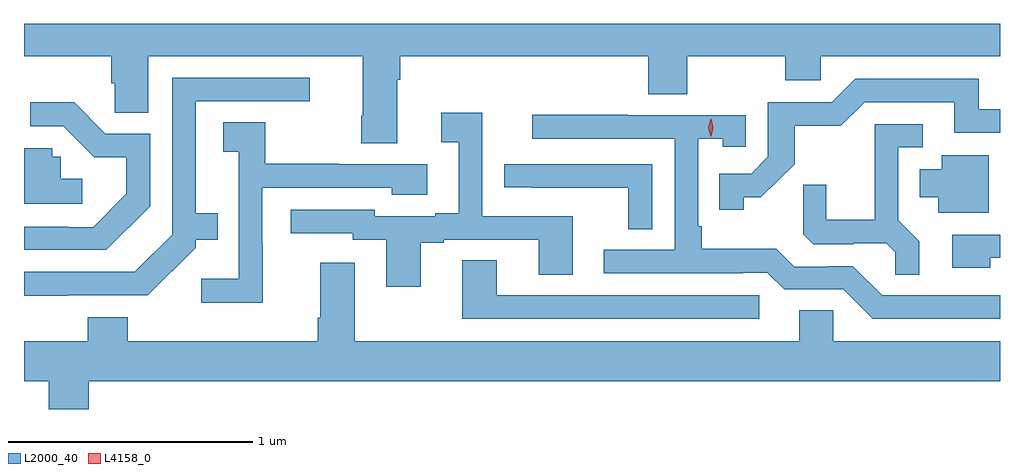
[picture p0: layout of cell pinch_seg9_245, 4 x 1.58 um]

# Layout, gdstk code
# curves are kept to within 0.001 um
import gdstk
lib = gdstk.Library(unit=1e-6, precision=1e-09)
def P(c, l, *ps):  # polygons
    for p in ps: c.add(gdstk.Polygon(p, *l))
L2000_40 = (2000, 40)
L4158_0 = (4158, 0)

pinch_seg9_245 = lib.new_cell('pinch_seg9_245')
P(pinch_seg9_245, L2000_40, [(490.111,1248.272),(490.124,1248.272),(490.124,1248.368),(491.141,1248.368),(491.141,1248.211),(491.301,1248.211),(491.301,1248.368),(491.701,1248.368),(491.701,1248.27),(491.847,1248.27),(491.847,1248.368),(492.582,1248.368),(492.582,1248.5),(488.582,1248.5),(488.582,1248.368),(488.939,1248.368),(488.939,1248.258),(488.953,1248.258),(488.953,1248.136),(489.091,1248.136),(489.091,1248.368),(489.971,1248.368),(489.971,1248.124),(489.964,1248.124),(489.964,1248.012),(490.111,1248.012)],
  [(488.759,1247.388),(489.09,1247.388),(489.285,1247.583),(489.285,1247.615),(489.377,1247.615),(489.377,1247.725),(489.286,1247.725),(489.286,1248.183),(489.754,1248.183),(489.754,1248.279),(489.189,1248.279),(489.189,1247.637),(489.036,1247.484),(488.582,1247.484),(488.582,1247.387)],
  [(491.532,1247.789),(491.602,1247.789),(491.74,1247.926),(491.74,1248.082),(491.929,1248.082),(492.027,1248.18),(492.395,1248.18),(492.395,1248.054),(492.582,1248.054),(492.582,1248.15),(492.494,1248.15),(492.494,1248.276),(491.988,1248.276),(491.892,1248.18),(491.631,1248.18),(491.631,1247.955),(491.562,1247.886),(491.431,1247.886),(491.431,1247.739),(491.532,1247.739)],
  [(489.099,1247.753),(489.099,1248.051),(488.916,1248.051),(488.788,1248.179),(488.607,1248.179),(488.607,1248.081),(488.742,1248.081),(488.869,1247.954),(489.002,1247.954),(489.002,1247.804),(488.865,1247.667),(488.765,1247.667),(488.765,1247.67),(488.582,1247.67),(488.582,1247.574),(488.92,1247.574)],
  [(490.207,1247.604),(490.303,1247.604),(490.303,1247.616),(490.691,1247.616),(490.691,1247.473),(490.831,1247.473),(490.831,1247.712),(490.461,1247.712),(490.461,1248.136),(490.293,1248.136),(490.293,1248.016),(490.364,1248.016),(490.364,1247.725),(490.268,1247.725),(490.268,1247.712),(490.02,1247.712),(490.02,1247.739),(489.675,1247.739),(489.675,1247.643),(489.93,1247.643),(489.93,1247.616),(490.067,1247.616),(490.067,1247.424),(490.207,1247.424)],
  [(492.582,1247.388),(492.099,1247.388),(491.979,1247.508),(491.878,1247.508),(491.878,1247.505),(491.739,1247.505),(491.666,1247.578),(491.359,1247.578),(491.359,1247.671),(491.346,1247.671),(491.346,1248.029),(491.445,1248.029),(491.445,1247.997),(491.541,1247.997),(491.541,1248.126),(491.057,1248.126),(491.057,1248.129),(490.665,1248.129),(490.665,1248.03),(491.25,1248.03),(491.25,1247.574),(490.959,1247.574),(490.959,1247.478),(491.528,1247.478),(491.528,1247.481),(491.628,1247.481),(491.697,1247.412),(491.94,1247.412),(492.06,1247.292),(492.582,1247.292)],
  [(489.561,1247.597),(489.558,1247.597),(489.558,1247.829),(490.089,1247.829),(490.089,1247.801),(490.234,1247.801),(490.234,1247.925),(489.875,1247.925),(489.875,1247.928),(489.571,1247.928),(489.571,1248.098),(489.399,1248.098),(489.399,1247.977),(489.462,1247.977),(489.462,1247.455),(489.309,1247.455),(489.309,1247.357),(489.561,1247.357)],
  [(492.251,1247.609),(492.165,1247.695),(492.165,1247.994),(492.265,1247.994),(492.265,1248.09),(492.068,1248.09),(492.068,1247.698),(491.87,1247.698),(491.87,1247.841),(491.776,1247.841),(491.776,1247.639),(491.817,1247.598),(491.982,1247.598),(491.982,1247.601),(492.116,1247.601),(492.153,1247.564),(492.153,1247.473),(492.251,1247.473)],
  [(488.821,1247.866),(488.733,1247.866),(488.733,1247.955),(488.697,1247.955),(488.697,1247.991),(488.582,1247.991),(488.582,1247.763),(488.821,1247.763)],
  [(492.535,1247.962),(492.344,1247.962),(492.344,1247.905),(492.254,1247.905),(492.254,1247.789),(492.329,1247.789),(492.329,1247.726),(492.535,1247.726)],
  [(491.157,1247.925),(490.551,1247.925),(490.551,1247.83),(490.663,1247.83),(490.663,1247.829),(491.059,1247.829),(491.059,1247.659),(491.157,1247.659)],
  [(492.543,1247.541),(492.582,1247.541),(492.582,1247.637),(492.387,1247.637),(492.387,1247.501),(492.543,1247.501)],
  [(491.596,1247.388),(490.519,1247.388),(490.519,1247.531),(490.379,1247.531),(490.379,1247.292),(491.596,1247.292)],
  [(488.848,1247.036),(492.582,1247.036),(492.582,1247.2),(491.898,1247.2),(491.898,1247.327),(491.759,1247.327),(491.759,1247.2),(489.937,1247.2),(489.937,1247.521),(489.797,1247.521),(489.797,1247.296),(489.785,1247.296),(489.785,1247.2),(489.008,1247.2),(489.008,1247.299),(488.843,1247.299),(488.843,1247.2),(488.582,1247.2),(488.582,1247.036),(488.684,1247.036),(488.684,1246.922),(488.848,1246.922)])
P(pinch_seg9_245, L4158_0, [(491.397,1248.039),(491.397,1248.039),(491.387,1248.075),(491.397,1248.111),(491.397,1248.111),(491.398,1248.111),(491.407,1248.075),(491.398,1248.039)])

lib.write_gds('pinch_seg9_245.gds')
